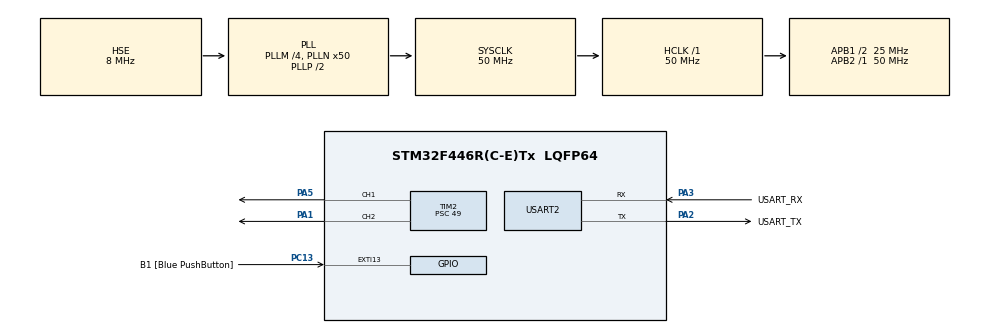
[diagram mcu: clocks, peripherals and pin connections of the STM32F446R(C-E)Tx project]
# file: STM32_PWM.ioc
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Mcu.Family=STM32F4
Mcu.Name=STM32F446R(C-E)Tx
Mcu.Package=LQFP64
Mcu.UserConstants=SAMPLE_RANGE,10000
NVIC.PriorityGroup=NVIC_PRIORITYGROUP_0
NVIC.TIM2_IRQn=true\:0\:0\:false\:false\:true\:true\:true\:true
PA1.Signal=S_TIM2_CH2
PA13.GPIO_Label=TMS
PA13.Mode=Serial_Wire
PA13.Signal=SYS_JTMS-SWDIO
PA14.GPIO_Label=TCK
PA14.Mode=Serial_Wire
PA14.Signal=SYS_JTCK-SWCLK
PA2.GPIO_Label=USART_TX
PA2.Mode=Asynchronous
PA2.Signal=USART2_TX
PA3.GPIO_Label=USART_RX
PA3.Mode=Asynchronous
PA3.Signal=USART2_RX
PA5.Signal=S_TIM2_CH1_ETR
PB3.GPIO_Label=SWO
PB3.Signal=SYS_JTDO-SWO
PC13.GPIO_Label=B1 [Blue PushButton]
PC13.GPIO_ModeDefaultEXTI=GPIO_MODE_IT_FALLING
PC13.Signal=GPXTI13
PC14-OSC32_IN.Mode=LSE-External-Oscillator
PC14-OSC32_IN.Signal=RCC_OSC32_IN
PC15-OSC32_OUT.Mode=LSE-External-Oscillator
PC15-OSC32_OUT.Signal=RCC_OSC32_OUT
PH0-OSC_IN.Mode=HSE-External-Oscillator
PH0-OSC_IN.Signal=RCC_OSC_IN
PH1-OSC_OUT.Mode=HSE-External-Oscillator
PH1-OSC_OUT.Signal=RCC_OSC_OUT
ProjectManager.HeapSize=0x200
ProjectManager.StackSize=0x400
ProjectManager.TargetToolchain=STM32CubeIDE
RCC.48MHZClocksFreq_Value=84000000
RCC.AHBFreq_Value=50000000
RCC.APB1CLKDivider=RCC_HCLK_DIV2
RCC.APB1Freq_Value=25000000
RCC.APB1TimFreq_Value=50000000
RCC.APB2Freq_Value=50000000
RCC.APB2TimFreq_Value=50000000
RCC.CortexFreq_Value=50000000
RCC.FLatency-AdvancedSettings=FLASH_LATENCY_1
RCC.HCLKFreq_Value=50000000
RCC.HSE_VALUE=8000000
RCC.HSI_VALUE=16000000
RCC.PLLM=4
RCC.PLLN=50
RCC.PLLSourceVirtual=RCC_PLLSOURCE_HSE
RCC.SYSCLKFreq_VALUE=50000000
RCC.SYSCLKSource=RCC_SYSCLKSOURCE_PLLCLK
RCC.USBFreq_Value=50000000
RCC.VCOOutputFreq_Value=100000000
SH.S_TIM2_CH1_ETR.0=TIM2_CH1,PWM Generation1 CH1
SH.S_TIM2_CH2.0=TIM2_CH2,PWM Generation2 CH2
TIM2.Channel-PWM\ Generation1\ CH1=TIM_CHANNEL_1
TIM2.Channel-PWM\ Generation2\ CH2=TIM_CHANNEL_2
TIM2.Period=SAMPLE_RANGE - 1
TIM2.Prescaler=49
USART2.VirtualMode=VM_ASYNC
board=NUCLEO-F446RE

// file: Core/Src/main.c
/* USER CODE BEGIN Header */
/**
  ******************************************************************************
  * @file           : main.c
  * @brief          : Main program body
  ******************************************************************************
  * @attention
  *
  * Copyright (c) 2025 STMicroelectronics.
  * All rights reserved.
  *
  * This software is licensed under terms that can be found in the LICENSE file
  * in the root directory of this software component.
  * If no LICENSE file comes with this software, it is provided AS-IS.
  *
  ******************************************************************************
  */
/* USER CODE END Header */
#include "main.h"

/* USER CODE BEGIN Includes */
#include <stdio.h>
#include <math.h>

/* USER CODE END Includes */

/* USER CODE BEGIN PTD */
#define SAMPLE_DELAY 10
#define SAMPLE_FREQ (1000/SAMPLE_DELAY)
#define SAMPLE_MID (SAMPLE_RANGE/2)
/* USER CODE END PTD */

TIM_HandleTypeDef htim2;

UART_HandleTypeDef huart2;

/* USER CODE BEGIN PV */
uint32_t led_channels[] = {TIM_CHANNEL_1, TIM_CHANNEL_2};
float angles[] = {0,0};
float angle_changes[] = {1*(2* M_PI/ SAMPLE_FREQ),2*(2* M_PI/ SAMPLE_FREQ)};
uint32_t cb_counter = 0;
/* USER CODE END PV */

void SystemClock_Config(void);
static void MX_GPIO_Init(void);
static void MX_USART2_UART_Init(void);
static void MX_TIM2_Init(void);

/* USER CODE BEGIN 0 */

// Send printf to uart1
int _write(int fd, char* ptr, int len) {
  HAL_StatusTypeDef hstatus;

  if (fd == 1 || fd == 2) {
    hstatus = HAL_UART_Transmit(&huart2, (uint8_t *) ptr, len, HAL_MAX_DELAY);
    if (hstatus == HAL_OK)
      return len;
    else
      return -1;
  }
  return -1;
}

void HAL_TIM_PWM_PulseFinishedCallback(TIM_HandleTypeDef *htim){
	if(htim -> Instance == TIM2){
		for(int i = 0; i < sizeof(angles) / sizeof(angles[0]);i++){
					  angles[i] += angle_changes[i];

					  if(angles[i] >= 2*M_PI){
						  angles[i] -= 2*M_PI;
					  }
					  __HAL_TIM_SET_COMPARE(&htim2,led_channels[i], SAMPLE_MID - (SAMPLE_MID * sin(angles[i])));

				  }
		cb_counter++;
	}
}

/* USER CODE END 0 */

int main(void)
{

  /* MCU Configuration--------------------------------------------------------*/

  /* Reset of all peripherals, Initializes the Flash interface and the Systick. */
  HAL_Init();

  /* Configure the system clock */
  SystemClock_Config();

  /* Initialize all configured peripherals */
  MX_GPIO_Init();
  MX_USART2_UART_Init();
  MX_TIM2_Init();
  /* USER CODE BEGIN 2 */
  int now = 0;
  int delay = 1, next_send = 100;
  uint32_t next_tick = 1000, loop_cnt = 0, next_sample = SAMPLE_DELAY;
  int pwm_change = 10;
  uint16_t pwm_value = 0;
  HAL_TIM_PWM_Start_IT(&htim2, TIM_CHANNEL_1);
  HAL_TIM_PWM_Start(&htim2, TIM_CHANNEL_2);

  /* USER CODE END 2 */

  /* Infinite loop */
  /* USER CODE BEGIN WHILE */
  while (1)
  {
	  now = uwTick;
	  if (now>= next_tick){
		  printf("Tick %d: %lu\, cb: %lu\r\n", now/1000, loop_cnt, cb_counter);
		  loop_cnt = 0;
		  next_tick = now + 1000;
	  }

//	  if(now >= next_sample){
//		  for(int i = 0; i < sizeof(angles) / sizeof(angles[0]);i++){
//			  angles[i] += angle_changes[i];
//
//			  if(angles[i] >= 2*M_PI){
//				  angles[i] -= 2*M_PI;
//			  }
//			  __HAL_TIM_SET_COMPARE(&htim2,led_channels[i], SAMPLE_MID - (SAMPLE_MID * sin(angles[i])));
//
//		  }
//		  next_sample = now + SAMPLE_DELAY;
//	  }
//	  if(now >= next_send){
//		  __HAL_TIM_SET_COMPARE(&htim2,TIM_CHANNEL_1, pwm_value);
//		  __HAL_TIM_SET_COMPARE(&htim2,TIM_CHANNEL_2, pwm_value);
//		  pwm_value += pwm_change;
//		  if(pwm_value == 10000){
//			  pwm_change = -10;;
//		  } else if(pwm_value == 0){
//			  pwm_change = 10;
//		  }
//		  next_send = now + delay;
//	  }
	  loop_cnt++;

    /* USER CODE END WHILE */

  }
}

void SystemClock_Config(void)
{
  RCC_OscInitTypeDef RCC_OscInitStruct = {0};
  RCC_ClkInitTypeDef RCC_ClkInitStruct = {0};

  /** Configure the main internal regulator output voltage
  */
  __HAL_RCC_PWR_CLK_ENABLE();
  __HAL_PWR_VOLTAGESCALING_CONFIG(PWR_REGULATOR_VOLTAGE_SCALE3);

  /** Initializes the RCC Oscillators according to the specified parameters
  * in the RCC_OscInitTypeDef structure.
  */
  RCC_OscInitStruct.OscillatorType = RCC_OSCILLATORTYPE_HSE;
  RCC_OscInitStruct.HSEState = RCC_HSE_ON;
  RCC_OscInitStruct.PLL.PLLState = RCC_PLL_ON;
  RCC_OscInitStruct.PLL.PLLSource = RCC_PLLSOURCE_HSE;
  RCC_OscInitStruct.PLL.PLLM = 4;
  RCC_OscInitStruct.PLL.PLLN = 50;
  RCC_OscInitStruct.PLL.PLLP = RCC_PLLP_DIV2;
  RCC_OscInitStruct.PLL.PLLQ = 2;
  RCC_OscInitStruct.PLL.PLLR = 2;
  if (HAL_RCC_OscConfig(&RCC_OscInitStruct) != HAL_OK)
  {
    Error_Handler();
  }

  /** Initializes the CPU, AHB and APB buses clocks
  */
  RCC_ClkInitStruct.ClockType = RCC_CLOCKTYPE_HCLK|RCC_CLOCKTYPE_SYSCLK
                              |RCC_CLOCKTYPE_PCLK1|RCC_CLOCKTYPE_PCLK2;
  RCC_ClkInitStruct.SYSCLKSource = RCC_SYSCLKSOURCE_PLLCLK;
  RCC_ClkInitStruct.AHBCLKDivider = RCC_SYSCLK_DIV1;
  RCC_ClkInitStruct.APB1CLKDivider = RCC_HCLK_DIV2;
  RCC_ClkInitStruct.APB2CLKDivider = RCC_HCLK_DIV1;

  if (HAL_RCC_ClockConfig(&RCC_ClkInitStruct, FLASH_LATENCY_1) != HAL_OK)
  {
    Error_Handler();
  }
}

static void MX_TIM2_Init(void)
{

  TIM_MasterConfigTypeDef sMasterConfig = {0};
  TIM_OC_InitTypeDef sConfigOC = {0};

  htim2.Instance = TIM2;
  htim2.Init.Prescaler = 49;
  htim2.Init.CounterMode = TIM_COUNTERMODE_UP;
  htim2.Init.Period = SAMPLE_RANGE - 1;
  htim2.Init.ClockDivision = TIM_CLOCKDIVISION_DIV1;
  htim2.Init.AutoReloadPreload = TIM_AUTORELOAD_PRELOAD_DISABLE;
  if (HAL_TIM_PWM_Init(&htim2) != HAL_OK)
  {
    Error_Handler();
  }
  sMasterConfig.MasterOutputTrigger = TIM_TRGO_RESET;
  sMasterConfig.MasterSlaveMode = TIM_MASTERSLAVEMODE_DISABLE;
  if (HAL_TIMEx_MasterConfigSynchronization(&htim2, &sMasterConfig) != HAL_OK)
  {
    Error_Handler();
  }
  sConfigOC.OCMode = TIM_OCMODE_PWM1;
  sConfigOC.Pulse = 0;
  sConfigOC.OCPolarity = TIM_OCPOLARITY_HIGH;
  sConfigOC.OCFastMode = TIM_OCFAST_DISABLE;
  if (HAL_TIM_PWM_ConfigChannel(&htim2, &sConfigOC, TIM_CHANNEL_1) != HAL_OK)
  {
    Error_Handler();
  }
  if (HAL_TIM_PWM_ConfigChannel(&htim2, &sConfigOC, TIM_CHANNEL_2) != HAL_OK)
  {
    Error_Handler();
  }
  HAL_TIM_MspPostInit(&htim2);

}

static void MX_USART2_UART_Init(void)
{

  huart2.Instance = USART2;
  huart2.Init.BaudRate = 115200;
  huart2.Init.WordLength = UART_WORDLENGTH_8B;
  huart2.Init.StopBits = UART_STOPBITS_1;
  huart2.Init.Parity = UART_PARITY_NONE;
  huart2.Init.Mode = UART_MODE_TX_RX;
  huart2.Init.HwFlowCtl = UART_HWCONTROL_NONE;
  huart2.Init.OverSampling = UART_OVERSAMPLING_16;
  if (HAL_UART_Init(&huart2) != HAL_OK)
  {
    Error_Handler();
  }

}

static void MX_GPIO_Init(void)
{
  GPIO_InitTypeDef GPIO_InitStruct = {0};

  /* GPIO Ports Clock Enable */
  __HAL_RCC_GPIOC_CLK_ENABLE();
  __HAL_RCC_GPIOH_CLK_ENABLE();
  __HAL_RCC_GPIOA_CLK_ENABLE();
  __HAL_RCC_GPIOB_CLK_ENABLE();

  /*Configure GPIO pin : B1_Pin */
  GPIO_InitStruct.Pin = B1_Pin;
  GPIO_InitStruct.Mode = GPIO_MODE_IT_FALLING;
  GPIO_InitStruct.Pull = GPIO_NOPULL;
  HAL_GPIO_Init(B1_GPIO_Port, &GPIO_InitStruct);

}

void Error_Handler(void)
{
  __disable_irq();
  while (1)
  {
  }
}
